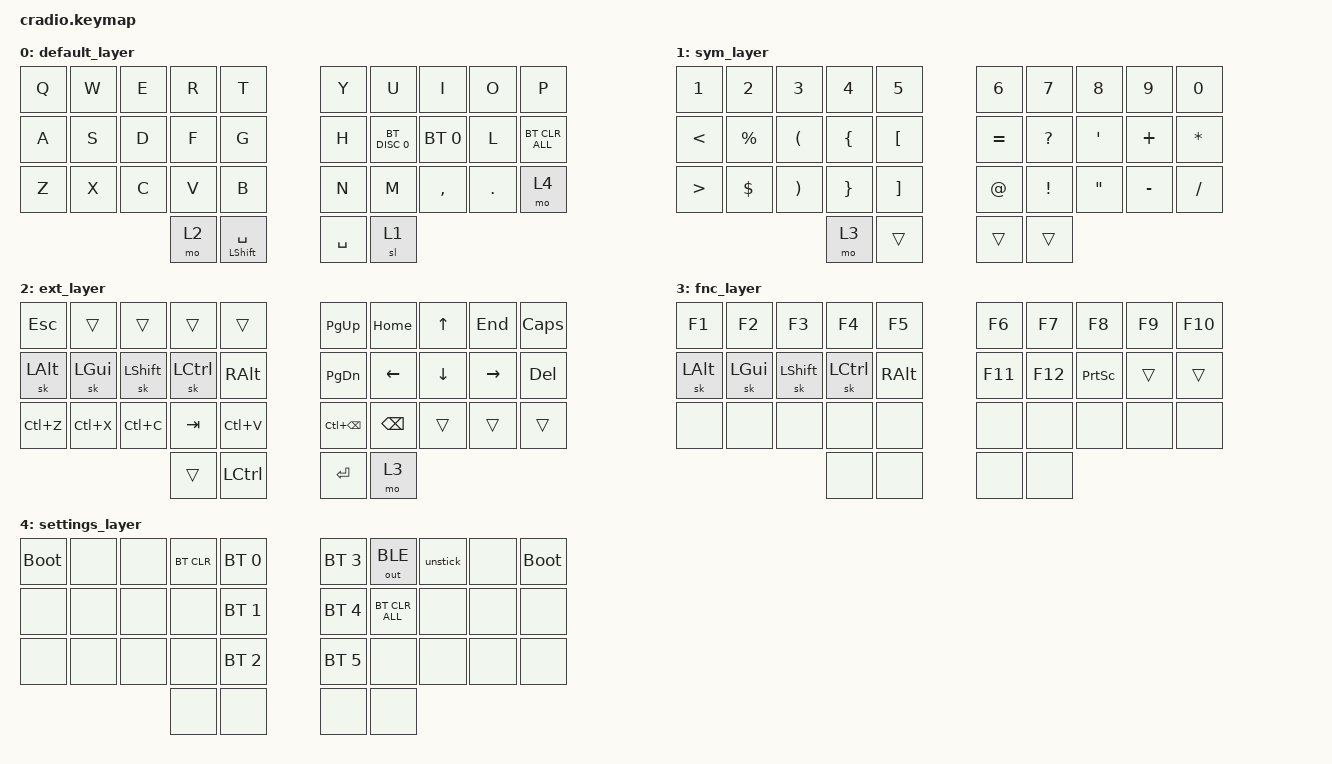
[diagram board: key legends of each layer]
/*
 * Copyright (c) 2020 The ZMK Contributors
 *
 * SPDX-License-Identifier: MIT
 */

#include <behaviors.dtsi>
#include <dt-bindings/zmk/bt.h>
#include <dt-bindings/zmk/keys.h>
#include <dt-bindings/zmk/outputs.h>

// Layer definitions

#define BASE 0
#define SYM 1
#define EXT 2
#define FNC 3
#define SYM2 4
#define ACCENT 5
#define SETTINGS 6

// -----------------

&mt {
    //  flavor = "tap-preferred";
    // tapping_term_ms = <200>;
};

&sk { ignore-modifiers; };

/ {
    macros {
        // sometimes my device thinks a modifier is being held down
        // pressing all modifiers fixes it.

        unstick: unstick {
            label = "ZM_unstick";
            compatible = "zmk,behavior-macro";
            #binding-cells = <0>;
            bindings = <&kp LSHIFT &kp RSHIFT &kp LCTRL &kp RCTRL &kp LALT &kp RALT &kp LGUI &kp RGUI>;
        };
    };

    combos {
        compatible = "zmk,combos";

        // both right thumb keys
        // internal-left & external-right thumb keys
        // both left thumb keys

        combo_settings {
            timeout-ms = <300>;
            key-positions = <30 31>;
            bindings = <&mo 4>;
        };
    };

    keymap {
        compatible = "zmk,keymap";

        // Base alpha layer

        default_layer {
            bindings = <
&kp Q  &kp W  &kp E  &kp R  &kp T               &kp Y      &kp U          &kp I         &kp O    &kp P
&kp A  &kp S  &kp D  &kp F  &kp G               &kp H      &bt BT_DISC 0  &bt BT_SEL 0  &kp L    &bt BT_CLR_ALL
&kp Z  &kp X  &kp C  &kp V  &kp B               &kp N      &kp M          &kp COMMA     &kp DOT  &mo 4
                     &mo 2  &mt LSHIFT SPACE    &kp SPACE  &sl 1
            >;
        };

        // Numbers and high frequency symbols

        sym_layer {
            bindings = <
&kp N1            &kp N2       &kp N3                 &kp N4           &kp N5               &kp N6       &kp N7           &kp N8             &kp N9     &kp N0
&kp LESS_THAN     &kp PERCENT  &kp LEFT_PARENTHESIS   &kp LEFT_BRACE   &kp LEFT_BRACKET     &kp EQUAL    &kp QUESTION     &kp SQT            &kp PLUS   &kp ASTERISK
&kp GREATER_THAN  &kp DOLLAR   &kp RIGHT_PARENTHESIS  &kp RIGHT_BRACE  &kp RIGHT_BRACKET    &kp AT_SIGN  &kp EXCLAMATION  &kp DOUBLE_QUOTES  &kp MINUS  &kp SLASH
                                                      &mo 3            &trans               &trans       &trans
            >;
        };

        // Main modifiers and arrow keys

        ext_layer {
            bindings = <
&kp ESC    &trans     &trans      &trans     &trans       &kp PG_UP     &kp HOME  &kp UP    &kp END    &kp CAPS
&sk LALT   &sk LGUI   &sk LSHIFT  &sk LCTRL  &kp RALT     &kp PG_DN     &kp LEFT  &kp DOWN  &kp RIGHT  &kp DEL
&kp LC(Z)  &kp LC(X)  &kp LC(C)   &kp TAB    &kp LC(V)    &kp LC(BSPC)  &kp BSPC  &trans    &trans     &trans
                                  &trans     &kp LCTRL    &kp ENTER     &mo 3
            >;
        };

        // Function keys with modifiers

        fnc_layer {
            bindings = <
&kp F1    &kp F2    &kp F3      &kp F4     &kp F5      &kp F6   &kp F7   &kp F8           &kp F9  &kp F10
&sk LALT  &sk LGUI  &sk LSHIFT  &sk LCTRL  &kp RALT    &kp F11  &kp F12  &kp PRINTSCREEN  &trans  &trans
&none     &none     &none       &none      &none       &none    &none    &none            &none   &none
                                &none      &none       &none    &none
            >;
        };

        // Low frequency symbols.
        // Used to type regional accents.
        // Used to change the keyboard's settings.

        settings_layer {
            bindings = <
&bootloader  &none  &none  &bt BT_CLR  &bt BT_SEL 0    &bt BT_SEL 3  &out OUT_BLE    &unstick  &none  &bootloader
&none        &none  &none  &none       &bt BT_SEL 1    &bt BT_SEL 4  &bt BT_CLR_ALL  &none     &none  &none
&none        &none  &none  &none       &bt BT_SEL 2    &bt BT_SEL 5  &none           &none     &none  &none
                           &none       &none           &none         &none
            >;
        };
    };
};
